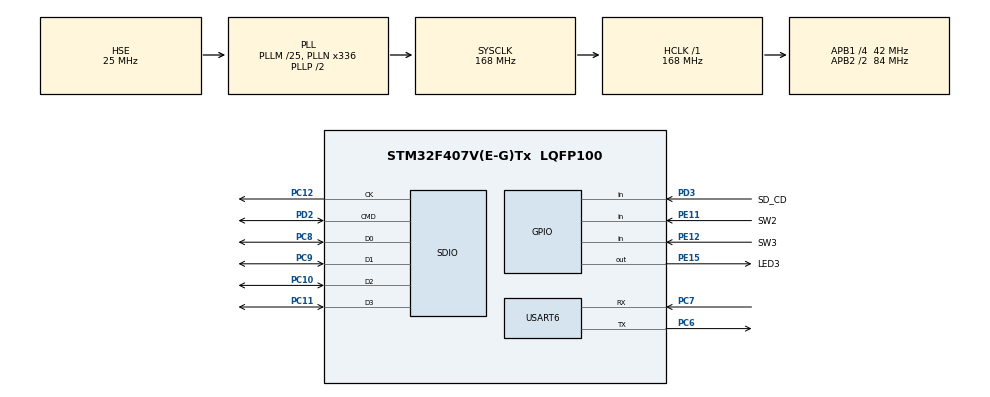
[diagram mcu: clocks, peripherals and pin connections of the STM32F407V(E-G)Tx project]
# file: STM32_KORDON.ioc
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FATFS.BSP.number=1
FATFS0.BSP.STBoard=false
FATFS0.BSP.api=Unknown
FATFS0.BSP.instance=PD3
FATFS0.BSP.ip=GPIO
FATFS0.BSP.mode=Input
FATFS0.BSP.name=Detect_SDIO
FATFS0.BSP.solution=PD3
Mcu.Family=STM32F4
Mcu.Name=STM32F407V(E-G)Tx
Mcu.Package=LQFP100
NVIC.PriorityGroup=NVIC_PRIORITYGROUP_4
NVIC.SDIO_IRQn=true\:0\:0\:false\:false\:true\:true\:true\:true
NVIC.USART6_IRQn=true\:0\:0\:false\:false\:true\:true\:true\:true
PA13.Mode=Serial_Wire
PA13.Signal=SYS_JTMS-SWDIO
PA14.Mode=Serial_Wire
PA14.Signal=SYS_JTCK-SWCLK
PC10.GPIO_PuPd=GPIO_PULLUP
PC10.Mode=SD_4_bits_Wide_bus
PC10.Signal=SDIO_D2
PC11.GPIO_PuPd=GPIO_PULLUP
PC11.Mode=SD_4_bits_Wide_bus
PC11.Signal=SDIO_D3
PC12.Mode=SD_4_bits_Wide_bus
PC12.Signal=SDIO_CK
PC6.Mode=Asynchronous
PC6.Signal=USART6_TX
PC7.Mode=Asynchronous
PC7.Signal=USART6_RX
PC8.GPIO_PuPd=GPIO_PULLUP
PC8.Mode=SD_4_bits_Wide_bus
PC8.Signal=SDIO_D0
PC9.GPIO_PuPd=GPIO_PULLUP
PC9.Mode=SD_4_bits_Wide_bus
PC9.Signal=SDIO_D1
PD2.GPIO_PuPd=GPIO_PULLUP
PD2.Mode=SD_4_bits_Wide_bus
PD2.Signal=SDIO_CMD
PD3.GPIO_Label=SD_CD
PD3.Signal=GPIO_Input
PE11.GPIO_Label=SW2
PE11.Signal=GPIO_Input
PE12.GPIO_Label=SW3
PE12.Signal=GPIO_Input
PE15.GPIO_Label=LED3
PE15.PinState=GPIO_PIN_SET
PE15.Signal=GPIO_Output
PH0-OSC_IN.Mode=HSE-External-Oscillator
PH0-OSC_IN.Signal=RCC_OSC_IN
PH1-OSC_OUT.Mode=HSE-External-Oscillator
PH1-OSC_OUT.Signal=RCC_OSC_OUT
ProjectManager.HeapSize=0x200
ProjectManager.StackSize=0x400
ProjectManager.TargetToolchain=STM32CubeIDE
RCC.48MHZClocksFreq_Value=48000000
RCC.AHBFreq_Value=168000000
RCC.APB1CLKDivider=RCC_HCLK_DIV4
RCC.APB1Freq_Value=42000000
RCC.APB1TimFreq_Value=84000000
RCC.APB2CLKDivider=RCC_HCLK_DIV2
RCC.APB2Freq_Value=84000000
RCC.APB2TimFreq_Value=168000000
RCC.CortexFreq_Value=168000000
RCC.HCLKFreq_Value=168000000
RCC.HSE_VALUE=25000000
RCC.HSI_VALUE=16000000
RCC.LSE_VALUE=32768
RCC.PLLM=25
RCC.PLLN=336
RCC.PLLQ=7
RCC.PLLSourceVirtual=RCC_PLLSOURCE_HSE
RCC.SYSCLKFreq_VALUE=168000000
RCC.SYSCLKSource=RCC_SYSCLKSOURCE_PLLCLK
RCC.VCOOutputFreq_Value=336000000
SDIO.ClockDiv=120
USART6.VirtualMode=VM_ASYNC
VP_FATFS_VS_SDIO.Mode=SDIO
board=custom

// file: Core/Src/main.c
/* USER CODE BEGIN Header */
/**
  ******************************************************************************
  * @file           : main.c
  * @brief          : Main program body
  ******************************************************************************
  * @attention
  *
  * Copyright (c) 2026 STMicroelectronics.
  * All rights reserved.
  *
  * This software is licensed under terms that can be found in the LICENSE file
  * in the root directory of this software component.
  * If no LICENSE file comes with this software, it is provided AS-IS.
  *
  ******************************************************************************
  */
/* USER CODE END Header */
#include "main.h"
#include "fatfs.h"

/* USER CODE BEGIN Includes */

#include "fatfs.h"
#include <stdio.h>

/* USER CODE END Includes */

SD_HandleTypeDef hsd;

UART_HandleTypeDef huart6;

void SystemClock_Config(void);
static void MX_GPIO_Init(void);
static void MX_USART6_UART_Init(void);
static void MX_SDIO_SD_Init(void);

int main(void)
{

  /* MCU Configuration--------------------------------------------------------*/

  /* Reset of all peripherals, Initializes the Flash interface and the Systick. */
  HAL_Init();

  /* Configure the system clock */
  SystemClock_Config();

  /* Initialize all configured peripherals */
  MX_GPIO_Init();
  MX_USART6_UART_Init();
  MX_SDIO_SD_Init();
  MX_FATFS_Init();
  /* USER CODE BEGIN 2 */

	FATFS fs;
	FIL fil;
	FRESULT fres;
	char read_buffer[100];
	UINT bytesRead;

    fres = f_mount(&fs, "", 1);

    if (fres == FR_OK) {
        printf("SD Card Mounted Successfully!\r\n");
        fres = f_open(&fil, "test.txt", FA_READ);

        if (fres == FR_OK) {
            fres = f_read(&fil, read_buffer, sizeof(read_buffer) - 1, &bytesRead);

            if (fres == FR_OK) {
                read_buffer[bytesRead] = '\0';
                printf("File Content: %s\r\n", read_buffer);
            }

            else
                printf("f_read Error: %d\r\n", fres);

            f_close(&fil);
        }

        else
            printf("f_open Error: %d (File missing?)\r\n", fres);

    }
    else
        printf("f_mount Error: %d (Card missing or wrong format?)\r\n", fres);

  /* USER CODE END 2 */

  /* Infinite loop */
  while (1)
  {

  }
}

void SystemClock_Config(void)
{
  RCC_OscInitTypeDef RCC_OscInitStruct = {0};
  RCC_ClkInitTypeDef RCC_ClkInitStruct = {0};

  /** Configure the main internal regulator output voltage
  */
  __HAL_RCC_PWR_CLK_ENABLE();
  __HAL_PWR_VOLTAGESCALING_CONFIG(PWR_REGULATOR_VOLTAGE_SCALE1);

  /** Initializes the RCC Oscillators according to the specified parameters
  * in the RCC_OscInitTypeDef structure.
  */
  RCC_OscInitStruct.OscillatorType = RCC_OSCILLATORTYPE_HSE;
  RCC_OscInitStruct.HSEState = RCC_HSE_ON;
  RCC_OscInitStruct.PLL.PLLState = RCC_PLL_ON;
  RCC_OscInitStruct.PLL.PLLSource = RCC_PLLSOURCE_HSE;
  RCC_OscInitStruct.PLL.PLLM = 25;
  RCC_OscInitStruct.PLL.PLLN = 336;
  RCC_OscInitStruct.PLL.PLLP = RCC_PLLP_DIV2;
  RCC_OscInitStruct.PLL.PLLQ = 7;
  if (HAL_RCC_OscConfig(&RCC_OscInitStruct) != HAL_OK)
  {
    Error_Handler();
  }

  /** Initializes the CPU, AHB and APB buses clocks
  */
  RCC_ClkInitStruct.ClockType = RCC_CLOCKTYPE_HCLK|RCC_CLOCKTYPE_SYSCLK
                              |RCC_CLOCKTYPE_PCLK1|RCC_CLOCKTYPE_PCLK2;
  RCC_ClkInitStruct.SYSCLKSource = RCC_SYSCLKSOURCE_PLLCLK;
  RCC_ClkInitStruct.AHBCLKDivider = RCC_SYSCLK_DIV1;
  RCC_ClkInitStruct.APB1CLKDivider = RCC_HCLK_DIV4;
  RCC_ClkInitStruct.APB2CLKDivider = RCC_HCLK_DIV2;

  if (HAL_RCC_ClockConfig(&RCC_ClkInitStruct, FLASH_LATENCY_5) != HAL_OK)
  {
    Error_Handler();
  }
}

static void MX_SDIO_SD_Init(void)
{

  hsd.Instance = SDIO;
  hsd.Init.ClockEdge = SDIO_CLOCK_EDGE_RISING;
  hsd.Init.ClockBypass = SDIO_CLOCK_BYPASS_DISABLE;
  hsd.Init.ClockPowerSave = SDIO_CLOCK_POWER_SAVE_DISABLE;
  hsd.Init.BusWide = SDIO_BUS_WIDE_1B;
  hsd.Init.HardwareFlowControl = SDIO_HARDWARE_FLOW_CONTROL_DISABLE;
  hsd.Init.ClockDiv = 120;

}

static void MX_USART6_UART_Init(void)
{

  huart6.Instance = USART6;
  huart6.Init.BaudRate = 115200;
  huart6.Init.WordLength = UART_WORDLENGTH_8B;
  huart6.Init.StopBits = UART_STOPBITS_1;
  huart6.Init.Parity = UART_PARITY_NONE;
  huart6.Init.Mode = UART_MODE_TX_RX;
  huart6.Init.HwFlowCtl = UART_HWCONTROL_NONE;
  huart6.Init.OverSampling = UART_OVERSAMPLING_16;
  if (HAL_UART_Init(&huart6) != HAL_OK)
  {
    Error_Handler();
  }

}

static void MX_GPIO_Init(void)
{
  GPIO_InitTypeDef GPIO_InitStruct = {0};

  /* GPIO Ports Clock Enable */
  __HAL_RCC_GPIOH_CLK_ENABLE();
  __HAL_RCC_GPIOE_CLK_ENABLE();
  __HAL_RCC_GPIOC_CLK_ENABLE();
  __HAL_RCC_GPIOA_CLK_ENABLE();
  __HAL_RCC_GPIOD_CLK_ENABLE();

  /*Configure GPIO pin Output Level */
  HAL_GPIO_WritePin(LED3_GPIO_Port, LED3_Pin, GPIO_PIN_SET);

  /*Configure GPIO pins : SW2_Pin SW3_Pin */
  GPIO_InitStruct.Pin = SW2_Pin|SW3_Pin;
  GPIO_InitStruct.Mode = GPIO_MODE_INPUT;
  GPIO_InitStruct.Pull = GPIO_NOPULL;
  HAL_GPIO_Init(GPIOE, &GPIO_InitStruct);

  /*Configure GPIO pin : LED3_Pin */
  GPIO_InitStruct.Pin = LED3_Pin;
  GPIO_InitStruct.Mode = GPIO_MODE_OUTPUT_PP;
  GPIO_InitStruct.Pull = GPIO_NOPULL;
  GPIO_InitStruct.Speed = GPIO_SPEED_FREQ_LOW;
  HAL_GPIO_Init(LED3_GPIO_Port, &GPIO_InitStruct);

  /*Configure GPIO pin : SD_CD_Pin */
  GPIO_InitStruct.Pin = SD_CD_Pin;
  GPIO_InitStruct.Mode = GPIO_MODE_INPUT;
  GPIO_InitStruct.Pull = GPIO_NOPULL;
  HAL_GPIO_Init(SD_CD_GPIO_Port, &GPIO_InitStruct);

}

/* USER CODE BEGIN 4 */

int _write(int file, char *ptr, int len){

	HAL_UART_Transmit(&huart6, (uint8_t*)ptr, len, HAL_MAX_DELAY);
	return len;

}

/* USER CODE END 4 */

void Error_Handler(void)
{
  __disable_irq();
  while (1)
  {
  }
}
